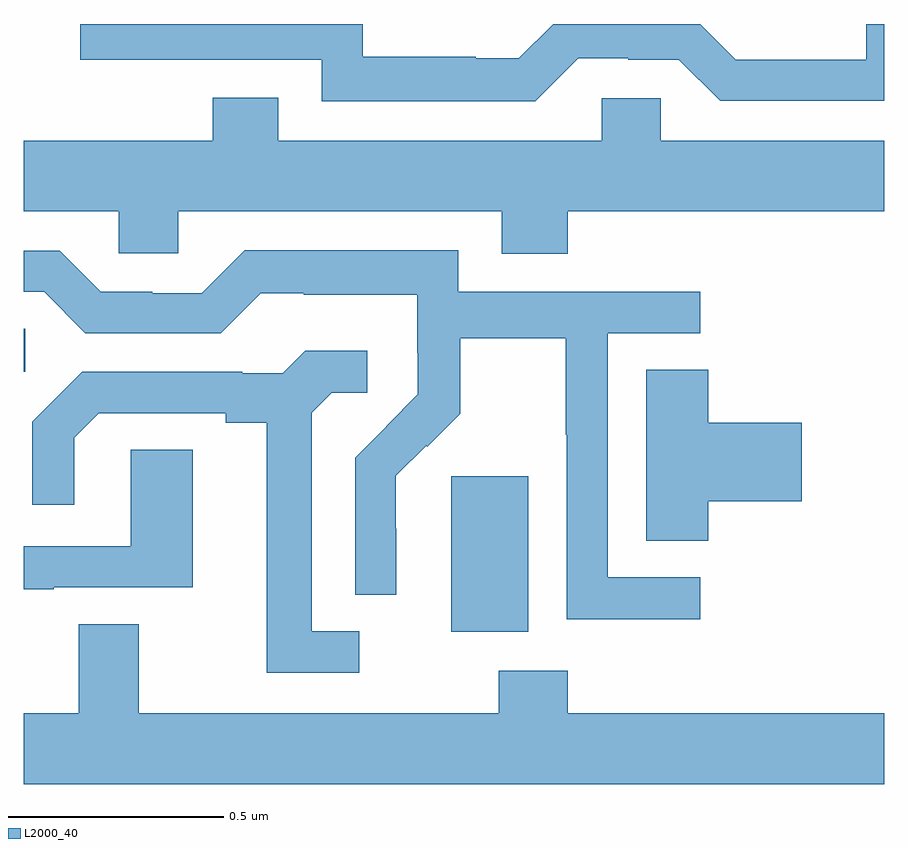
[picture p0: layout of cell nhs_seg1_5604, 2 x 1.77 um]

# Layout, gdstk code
import gdstk
lib = gdstk.Library(unit=1e-6, precision=1e-09)
def R(c, l, rs):  # rectangles x0, y0, x1, y1
    for r in rs: c.add(gdstk.rectangle(r[:2], r[2:], *l))
def P(c, l, *ps):  # polygons
    for p in ps: c.add(gdstk.Polygon(p, *l))
L2000_40 = (2000, 40)

nhs_seg1_5604 = lib.new_cell('nhs_seg1_5604')
R(nhs_seg1_5604, L2000_40, [(181.994,518.786,182.173,519.147), (181,519.39,181.003,519.491)])
P(nhs_seg1_5604, L2000_40, [(182.289,520.119),(182.405,520.119),(182.405,520.116),(182.523,520.116),(182.619,520.02),(183,520.02),(183,520.199),(182.958,520.199),(182.958,520.116),(182.655,520.116),(182.572,520.199),(182.231,520.199),(182.151,520.119),(182.051,520.119),(182.051,520.123),(181.788,520.123),(181.788,520.199),(181.131,520.199),(181.131,520.116),(181.692,520.116),(181.692,520.019),(182.189,520.019)],
  [(182.264,519.764),(183,519.764),(183,519.928),(182.481,519.928),(182.481,520.026),(182.343,520.026),(182.343,519.928),(181.591,519.928),(181.591,520.027),(181.439,520.027),(181.439,519.928),(181,519.928),(181,519.764),(181.221,519.764),(181.221,519.666),(181.359,519.666),(181.359,519.764),(182.111,519.764),(182.111,519.665),(182.264,519.665)],
  [(182.572,518.913),(182.358,518.913),(182.358,519.48),(182.572,519.48),(182.572,519.576),(182.01,519.576),(182.01,519.673),(181.513,519.673),(181.413,519.573),(181.298,519.573),(181.298,519.576),(181.179,519.576),(181.083,519.672),(181,519.672),(181,519.576),(181.047,519.576),(181.143,519.48),(181.458,519.48),(181.551,519.573),(181.651,519.573),(181.651,519.569),(181.914,519.569),(181.914,519.435),(181.916,519.435),(181.916,519.338),(181.842,519.264),(181.843,519.263),(181.77,519.19),(181.77,518.872),(181.866,518.872),(181.866,519.026),(181.865,519.026),(181.865,519.149),(181.935,519.219),(181.938,519.216),(182.015,519.293),(182.015,519.468),(182.26,519.468),(182.26,519.244),(182.262,519.244),(182.262,518.815),(182.572,518.815)],
  [(181.78,518.787),(181.669,518.787),(181.669,519.295),(181.716,519.342),(181.798,519.342),(181.798,519.439),(181.654,519.439),(181.602,519.387),(181.508,519.387),(181.508,519.39),(181.136,519.39),(181.02,519.274),(181.02,519.081),(181.117,519.081),(181.117,519.237),(181.174,519.294),(181.469,519.294),(181.469,519.272),(181.565,519.272),(181.565,518.691),(181.78,518.691)],
  [(182.591,519.089),(182.809,519.089),(182.809,519.272),(182.591,519.272),(182.591,519.395),(182.447,519.395),(182.447,518.998),(182.591,518.998)],
  [(181.069,518.889),(181.393,518.889),(181.393,519.209),(181.248,519.209),(181.248,518.985),(181,518.985),(181,518.885),(181.069,518.885)],
  [(183,518.596),(182.264,518.596),(182.264,518.695),(182.104,518.695),(182.104,518.596),(181.267,518.596),(181.267,518.804),(181.127,518.804),(181.127,518.596),(181,518.596),(181,518.432),(183,518.432)])

lib.write_gds('nhs_seg1_5604.gds')
